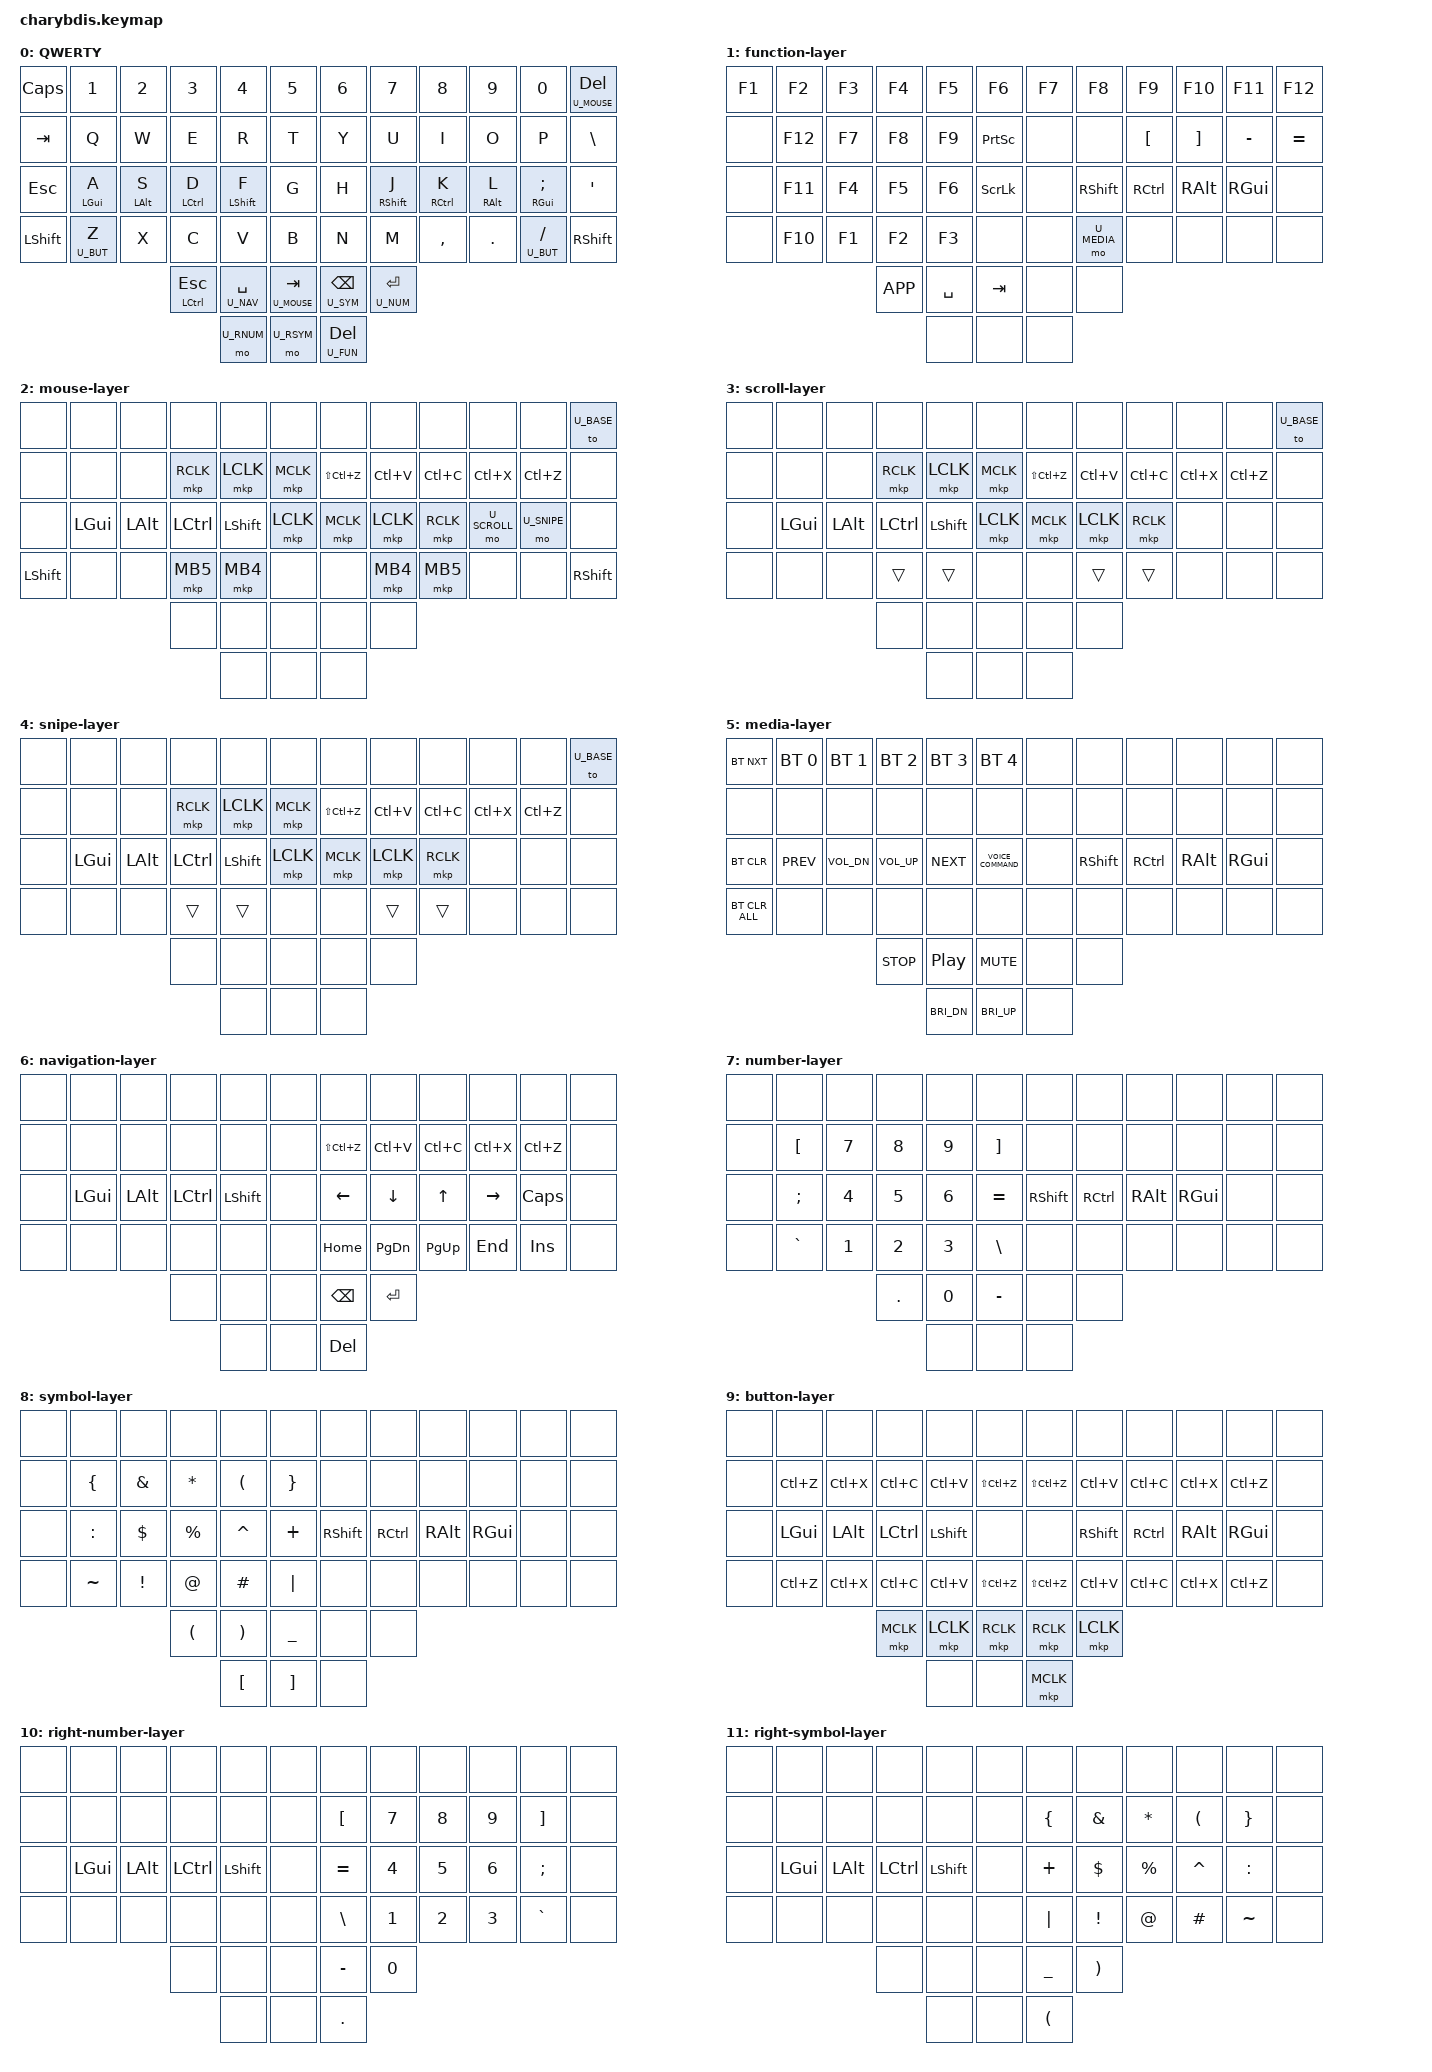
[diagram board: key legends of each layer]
#include <behaviors.dtsi>
#include <dt-bindings/zmk/bt.h>
#include <dt-bindings/zmk/keys.h>
#include <dt-bindings/zmk/pointing.h>
#include <dt-bindings/zmk/rgb.h>

#define U_BASE   0
#define U_FUN    1
#define U_MOUSE  2
#define U_SCROLL 3
#define U_SNIPE  4
#define U_MEDIA  5
#define U_NAV    6
#define U_NUM    7
#define U_SYM    8
#define U_BUT    9
#define U_RNUM   10
#define U_RSYM   11

&lt {
    flavor = "balanced";
    tapping-term-ms = <220>;
    quick-tap-ms = <200>;
};

/ {
    behaviors {
        hm: home_row_mods {
            compatible = "zmk,behavior-hold-tap";
            #binding-cells = <2>;
            flavor = "tap-preferred";   /* 优先判定为 Tap (字母)，大幅减少打字误触 */
            tapping-term-ms = <180>;    /* 按住超过 180ms 判定为长按 (修饰键) */
            quick-tap-ms = <150>;       /* 连续快速双击时，第二次直接输入字母，方便快速打重复字母 */
            require-prior-idle-ms = <150>;
            bindings = <&kp>, <&kp>;
        };

        // 自定义：长按切层/开关层，短按发送键值
        ht_tog: hold_tap_toggle_layer {
            compatible = "zmk,behavior-hold-tap";
            #binding-cells = <2>;
            flavor = "hold-preferred";   /* 按住超过 tapping-term-ms 即判定为长按 */
            tapping-term-ms = <200>;     /* 长按判定时间，可按习惯调整 (如 180~250ms) */
            quick-tap-ms = <150>;
            bindings = <&tog>, <&kp>;    /* 参数1给 &tog (Hold)，参数2给 &kp (Tap) */
        };
    };

    keymap {
        compatible = "zmk,keymap";

        // layer 0 (U_BASE)
        QWERTY {
            bindings = <
&kp CAPS   &kp N1       &kp N2      &kp N3        &kp N4            &kp N5            &kp N6           &kp N7          &kp N8       &kp N9      &kp N0           &ht_tog U_MOUSE DEL
&kp TAB    &kp Q        &kp W       &kp E         &kp R             &kp T             &kp Y            &kp U           &kp I        &kp O       &kp P            &kp BSLH
&kp ESC    &hm LGUI A   &hm LALT S  &hm LCTRL D   &hm LSHFT F       &kp G             &kp H            &hm RSHFT J     &hm RCTRL K  &hm RALT L  &hm RGUI SEMI    &kp SQT
&kp LSHFT  &lt U_BUT Z  &kp X       &kp C         &kp V             &kp B             &kp N            &kp M           &kp COMMA    &kp DOT     &lt U_BUT FSLH   &kp RSHFT
                                    &mt LCTRL ESC &lt U_NAV SPACE   &lt U_MOUSE TAB   &lt U_SYM BSPC   &lt U_NUM ENTER
                                                  &mo U_RNUM        &mo U_RSYM        &lt U_FUN DELETE
            >;
        };

        // layer 1 (U_FUN)
        function-layer {
            bindings = <
&kp F1  &kp F2    &kp F3   &kp F4     &kp F5     &kp F6        &kp F7     &kp F8       &kp F9        &kp F10       &kp F11    &kp F12
&none   &kp F12   &kp F7   &kp F8     &kp F9     &kp PSCRN     &none      &none        &kp LBKT      &kp RBKT      &kp MINUS  &kp EQUAL
&none   &kp F11   &kp F4   &kp F5     &kp F6     &kp SLCK      &none      &kp RSHFT    &kp RCTRL     &kp RALT      &kp RGUI   &none 
&none   &kp F10   &kp F1   &kp F2     &kp F3     &none         &none      &mo U_MEDIA  &none         &none         &none      &none 
                           &kp K_APP  &kp SPACE  &kp TAB       &none      &none
                                      &none      &none         &none 
            >;
        };

        // layer 2 (U_MOUSE)
        mouse-layer {
            bindings = <
&none      &none      &none     &none      &none       &none        &none         &none       &none       &none        &none       &to U_BASE
&none      &none      &none     &mkp RCLK  &mkp LCLK   &mkp MCLK    &kp LS(LC(Z)) &kp LC(V)   &kp LC(C)   &kp LC(X)    &kp LC(Z)   &none
&none      &kp LGUI   &kp LALT  &kp LCTRL  &kp LSHFT   &mkp LCLK    &mkp MCLK     &mkp LCLK   &mkp RCLK   &mo U_SCROLL &mo U_SNIPE &none
&kp LSHFT  &none      &none     &mkp MB5   &mkp MB4    &none        &none         &mkp MB4    &mkp MB5    &none        &none       &kp RSHFT
                                &none      &none       &none        &none         &none
                                           &none       &none        &none
            >;
        };

        // layer 3 (U_SCROLL)
        scroll-layer {
            bindings = <
&none     &none      &none     &none      &none       &none        &none         &none       &none       &none     &none       &to U_BASE
&none     &none      &none     &mkp RCLK  &mkp LCLK   &mkp MCLK    &kp LS(LC(Z)) &kp LC(V)   &kp LC(C)   &kp LC(X) &kp LC(Z)   &none
&none     &kp LGUI   &kp LALT  &kp LCTRL  &kp LSHFT   &mkp LCLK    &mkp MCLK     &mkp LCLK   &mkp RCLK   &none     &none       &none
&none     &none      &none     &trans     &trans      &none        &none         &trans      &trans      &none     &none       &none
                               &none      &none       &none        &none         &none
                                          &none       &none        &none
            >;
        };
        // layer 4 (U_SNIPE)
        snipe-layer {
            bindings = <
&none     &none      &none     &none      &none       &none        &none         &none       &none       &none     &none       &to U_BASE
&none     &none      &none     &mkp RCLK  &mkp LCLK   &mkp MCLK    &kp LS(LC(Z)) &kp LC(V)   &kp LC(C)   &kp LC(X) &kp LC(Z)   &none
&none     &kp LGUI   &kp LALT  &kp LCTRL  &kp LSHFT   &mkp LCLK    &mkp MCLK     &mkp LCLK   &mkp RCLK   &none     &none       &none
&none     &none      &none     &trans     &trans      &none        &none         &trans      &trans      &none     &none       &none
                               &none      &none       &none        &none         &none
                                          &none       &none        &none
            >;
        };

        // layer 5 (U_MEDIA)
        media-layer {
            bindings = <
&bt BT_NXT       &bt BT_SEL 0    &bt BT_SEL 1    &bt BT_SEL 2  &bt BT_SEL 3  &bt BT_SEL 4          &none  &none     &none     &none     &none     &none 
&none            &none           &none           &none         &none         &none                 &none  &none     &none     &none     &none     &none 
&bt BT_CLR       &kp C_PREV      &kp C_VOL_DN    &kp C_VOL_UP  &kp C_NEXT    &kp C_VOICE_COMMAND   &none  &kp RSHFT &kp RCTRL &kp RALT  &kp RGUI  &none
&bt BT_CLR_ALL   &none           &none           &none         &none         &none                 &none  &none     &none     &none     &none     &none 
                                                 &kp C_STOP    &kp C_PP      &kp C_MUTE            &none  &none 
                                                               &kp C_BRI_DN  &kp C_BRI_UP          &none 
            >;
        };

        // layer 6 (U_NAV)
        navigation-layer {
            bindings = <
&none  &none      &none     &none      &none      &none          &none         &none       &none      &none      &none      &none
&none  &none      &none     &none      &none      &none          &kp LS(LC(Z)) &kp LC(V)   &kp LC(C)  &kp LC(X)  &kp LC(Z)  &none
&none  &kp LGUI   &kp LALT  &kp LCTRL  &kp LSHFT  &none          &kp LEFT      &kp DOWN    &kp UP     &kp RIGHT  &kp CAPS   &none
&none  &none      &none     &none      &none      &none          &kp HOME      &kp PG_DN   &kp PG_UP  &kp END    &kp INS    &none
                            &none      &none      &none          &kp BSPC      &kp ENTER   
                                       &none      &none          &kp DELETE
            >;
        };
        // layer 7 (U_NUM - 左手数字)
        number-layer {
            bindings = <
&none  &none      &none     &none      &none      &none          &none        &none       &none      &none      &none      &none
&none  &kp LBKT   &kp N7    &kp N8     &kp N9     &kp RBKT       &none        &none       &none      &none      &none      &none
&none  &kp SEMI   &kp N4    &kp N5     &kp N6     &kp EQUAL      &kp RSHFT    &kp RCTRL   &kp RALT   &kp RGUI   &none      &none
&none  &kp GRAVE  &kp N1    &kp N2     &kp N3     &kp BSLH       &none        &none       &none      &none      &none      &none
                            &kp DOT    &kp N0     &kp MINUS      &none        &none 
                                       &none      &none          &none
            >;
        };
        // layer 8 (U_SYM - 左手符号)
        symbol-layer {
            bindings = <
&none  &none      &none     &none      &none      &none          &none        &none       &none      &none      &none      &none
&none  &kp LBRC   &kp AMPS  &kp ASTRK  &kp LPAR   &kp RBRC       &none        &none       &none      &none      &none      &none
&none  &kp COLON  &kp DLLR  &kp PRCNT  &kp CARET  &kp PLUS       &kp RSHFT    &kp RCTRL   &kp RALT   &kp RGUI   &none      &none
&none  &kp TILDE  &kp EXCL  &kp AT     &kp HASH   &kp PIPE       &none        &none       &none      &none      &none      &none
                            &kp LPAR   &kp RPAR   &kp UNDER      &none        &none 
                                       &kp LBKT   &kp RBKT       &none
            >;
        };
        // layer 9 (U_BUT) 
        button-layer {
            bindings = <
&none  &none         &none         &none          &none          &none            &none          &none          &none          &none         &none            &none
&none  &kp LC(Z)     &kp LC(X)     &kp LC(C)      &kp LC(V)      &kp LS(LC(Z))    &kp LS(LC(Z))  &kp LC(V)      &kp LC(C)      &kp LC(X)     &kp LC(Z)        &none
&none  &kp LGUI      &kp LALT      &kp LCTRL      &kp LSHFT      &none            &none          &kp RSHFT      &kp RCTRL      &kp RALT      &kp RGUI         &none
&none  &kp LC(Z)     &kp LC(X)     &kp LC(C)      &kp LC(V)      &kp LS(LC(Z))    &kp LS(LC(Z))  &kp LC(V)      &kp LC(C)      &kp LC(X)     &kp LC(Z)        &none
                                   &mkp MCLK      &mkp LCLK      &mkp RCLK        &mkp RCLK      &mkp LCLK
                                                  &none          &none            &mkp MCLK
            >;
        };

        // layer 10 (U_RNUM - 右手九宫格数字)
        right-number-layer {
            bindings = <
&none  &none      &none     &none      &none      &none          &none        &none       &none      &none      &none      &none
&none  &none      &none     &none      &none      &none          &kp LBKT     &kp N7      &kp N8     &kp N9     &kp RBKT   &none
&none  &kp LGUI   &kp LALT  &kp LCTRL  &kp LSHFT  &none          &kp EQUAL    &kp N4      &kp N5     &kp N6     &kp SEMI   &none
&none  &none      &none     &none      &none      &none          &kp BSLH     &kp N1      &kp N2     &kp N3     &kp GRAVE  &none
                            &none      &none      &none          &kp MINUS    &kp N0
                                       &none      &none          &kp DOT
            >;
        };

        // layer 11 (U_RSYM - 右手符号)
        right-symbol-layer {
            bindings = <
&none  &none      &none     &none      &none      &none          &none        &none       &none      &none      &none      &none
&none  &none      &none     &none      &none      &none          &kp LBRC     &kp AMPS    &kp ASTRK  &kp LPAR   &kp RBRC   &none
&none  &kp LGUI   &kp LALT  &kp LCTRL  &kp LSHFT  &none          &kp PLUS     &kp DLLR    &kp PRCNT  &kp CARET  &kp COLON  &none
&none  &none      &none     &none      &none      &none          &kp PIPE     &kp EXCL    &kp AT     &kp HASH   &kp TILDE  &none
                            &none      &none      &none          &kp UNDER    &kp RPAR
                                       &none      &none          &kp LPAR
            >;
        };
    };
};
